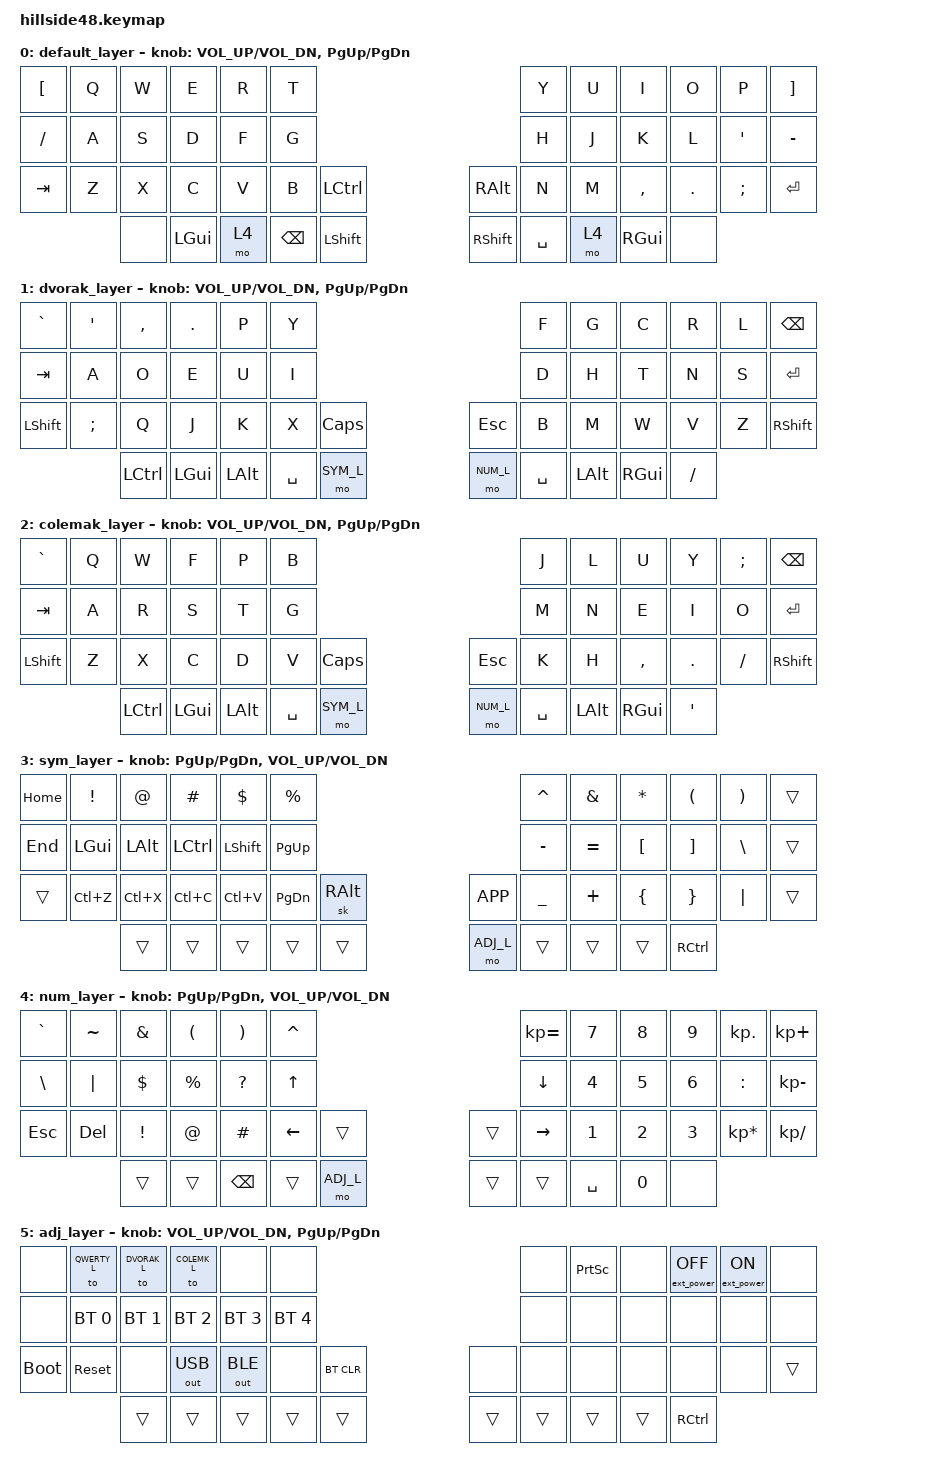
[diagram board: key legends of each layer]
/*
 * Copyright (c) 2022 The ZMK Contributors
 *
 * SPDX-License-Identifier: MIT
 */

#include <behaviors.dtsi>
#include <dt-bindings/zmk/bt.h>
#include <dt-bindings/zmk/ext_power.h>
#include <dt-bindings/zmk/keys.h>
#include <dt-bindings/zmk/outputs.h>

#define QWERTY_L 0
#define DVORAK_L 1
#define COLEMK_L 2
#define SYM_L    3
#define NUM_L    4
#define ADJ_L    5
#define Undo   LC(Z)
#define Cut    LC(X)
#define Copy   LC(C)
#define Paste  LC(V)

&lt {
    flavor = "hold-preferred";
    tapping-term-ms = <160>;
};

/ {
    keymap {
        compatible = "zmk,keymap";

        default_layer {
            /* QWERTY
 * -------------------------------------------------------------------------------------------------------------------------------------
 * | `     |   Q   |   W   |   E   |   R   |   T   |-----------------------------------|   Y   |   U   |   I   |   O   |   P   | BKSPC |
 * | TAB   |   A   |   S   |   D   |   F   |   G   |-----------------------------------|   H   |   J   |   K   |   L   |   ;   | ENTER |
 * | SHIFT |   Z   |   X   |   C   |   V   |   B   | CAPS  |-------------------|  ESC  |   N   |   M   |   ,   |   .   |   /   | SHIFT |
 * ----------------| CTRL  |-------|  GUI  |  ALT  | SPACE |  Sym  |---|  Num  | SPACE |  ALT  |  GUI  |-------|   '   |----------------
 */

            bindings = <
&kp LEFT_BRACKET  &kp Q  &kp W  &kp E  &kp R         &kp T                                                                 &kp Y  &kp U          &kp I      &kp O    &kp P     &kp RIGHT_BRACKET
&kp SLASH         &kp A  &kp S  &kp D  &kp F         &kp G                                                                 &kp H  &kp J          &kp K      &kp L    &kp SQT   &kp MINUS
&kp TAB           &kp Z  &kp X  &kp C  &kp V         &kp B  &kp LCTRL                                       &kp RIGHT_ALT  &kp N  &kp M          &kp COMMA  &kp DOT  &kp SEMI  &kp ENTER
                         &none         &kp LEFT_GUI  &mo 4  &kp BACKSPACE  &kp LEFT_SHIFT  &kp RIGHT_SHIFT  &kp SPACE      &mo 4  &kp RIGHT_GUI             &none
            >;

            sensor-bindings = <&inc_dec_kp C_VOL_UP C_VOL_DN &inc_dec_kp PG_UP PG_DN>;
        };

        dvorak_layer {
            /* DVORAK
 * -------------------------------------------------------------------------------------------------------------------------------------
 * | `     |   '   |   ,   |   .   |   P   |   Y   |-----------------------------------|   F   |   G   |   C   |   R   |   L   | BKSPC |
 * | TAB   |   A   |   O   |   E   |   U   |   I   |-----------------------------------|   D   |   H   |   T   |   N   |   S   | ENTER |
 * | SHIFT |   ;   |   Q   |   J   |   K   |   X   | CAPS  |-------------------|  ESC  |   B   |   M   |   W   |   V   |   Z   | SHIFT |
 * ----------------| CTRL  |-------|  GUI  |  ALT  | SPACE |  Sym  |---|  Num  | SPACE |  ALT  |  GUI  |-------|   /   |----------------
 */

            bindings = <
&kp GRAVE  &kp SQT   &kp COMMA  &kp DOT  &kp P     &kp Y                                                 &kp F     &kp G     &kp C  &kp R      &kp L  &kp BSPC
&kp TAB    &kp A     &kp O      &kp E    &kp U     &kp I                                                 &kp D     &kp H     &kp T  &kp N      &kp S  &kp ENTER
&kp LSHFT  &kp SEMI  &kp Q      &kp J    &kp K     &kp X     &kp CAPS                         &kp ESC    &kp B     &kp M     &kp W  &kp V      &kp Z  &kp RSHFT
                     &kp LCTRL           &kp LGUI  &kp LALT  &kp SPACE  &mo SYM_L  &mo NUM_L  &kp SPACE  &kp LALT  &kp RGUI         &kp SLASH
            >;

            sensor-bindings = <&inc_dec_kp C_VOL_UP C_VOL_DN &inc_dec_kp PG_UP PG_DN>;
        };

        colemak_layer {
            /* COLEMAK-DH
 * -------------------------------------------------------------------------------------------------------------------------------------
 * | `     |   Q   |   W   |   F   |   P   |   B   |-----------------------------------|   J   |   L   |   U   |   Y   |   ;   | BKSPC |
 * | TAB   |   A   |   R   |   S   |   T   |   G   |-----------------------------------|   M   |   N   |   E   |   I   |   O   | ENTER |
 * | SHIFT |   Z   |   X   |   C   |   D   |   V   | CAPS  |-------------------|  ESC  |   K   |   H   |   ,   |   .   |   /   | SHIFT |
 * ----------------| CTRL  |-------|  GUI  |  ALT  | SPACE |  Sym  |---|  Num  | SPACE |  ALT  |  GUI  |-------|   '   |----------------
 */

            bindings = <
&kp GRAVE  &kp Q  &kp W      &kp F  &kp P     &kp B                                                 &kp J     &kp L     &kp U      &kp Y    &kp SEMI   &kp BSPC
&kp TAB    &kp A  &kp R      &kp S  &kp T     &kp G                                                 &kp M     &kp N     &kp E      &kp I    &kp O      &kp ENTER
&kp LSHFT  &kp Z  &kp X      &kp C  &kp D     &kp V     &kp CAPS                         &kp ESC    &kp K     &kp H     &kp COMMA  &kp DOT  &kp SLASH  &kp RSHFT
                  &kp LCTRL         &kp LGUI  &kp LALT  &kp SPACE  &mo SYM_L  &mo NUM_L  &kp SPACE  &kp LALT  &kp RGUI             &kp SQT
            >;

            sensor-bindings = <&inc_dec_kp C_VOL_UP C_VOL_DN &inc_dec_kp PG_UP PG_DN>;
        };

        sym_layer {
            /* SYM
 * -------------------------------------------------------------------------------------------------------------------------------------
 * | HOME  |   !   |   @   |   #   |   $   |   %   |-----------------------------------|   ^   |   &   |   *   |   (   |   )   | BSPC  |
 * | END   |  GUI  |  Alt  | Ctrl  | Shift | Pg Up |-----------------------------------|   -   |   =   |   [   |   ]   |   \   | ENTER |
 * | Shift |  UnDo |  Cut  | Copy  | Paste | Pg Dn |OsAltGr|-------------------| MENU  |   _   |   +   |   {   |   }   |   |   | SHIFT |
 * ----------------|       |-------|       |       |       |       |---| ADJ_L |       |       |       |-------| CTRL  |----------------
 */

            bindings = <
&kp HOME  &kp EXCL  &kp AT    &kp HASH   &kp DOLLAR  &kp PERCENT                                          &kp CARET  &kp AMPS   &kp ASTRK  &kp LPAR   &kp RPAR  &trans
&kp END   &kp LGUI  &kp LALT  &kp LCTRL  &kp LSHFT   &kp PG_UP                                            &kp MINUS  &kp EQUAL  &kp LBKT   &kp RBKT   &kp BSLH  &trans
&trans    &kp Undo  &kp Cut   &kp Copy   &kp Paste   &kp PG_DN    &sk RALT                     &kp K_APP  &kp UNDER  &kp PLUS   &kp LBRC   &kp RBRC   &kp PIPE  &trans
                    &trans               &trans      &trans       &trans    &trans  &mo ADJ_L  &trans     &trans     &trans                &kp RCTRL
            >;

            sensor-bindings = <&inc_dec_kp PG_UP PG_DN &inc_dec_kp C_VOL_UP C_VOL_DN>;
        };

        num_layer {
            /* NUM   
 * -------------------------------------------------------------------------------------------------------------------------------------
 * | F11   |   1   |   2   |   3   |   4   |   5   |-----------------------------------|   6   |   7   |   8   |   9   |       | BSPC  |
 * | F12   |  F1   |  F2   |  F3   |  F4   |  F5   |-----------------------------------|VOL UP | Shift | Ctrl  | Alt   | Gui   | ENTER |
 * | Shift |  F6   |  F7   |  F8   |  F9   |  F10  |  INS  |-------------------| MUTE  |VOL DN | Left  |  Up   | Down  | Right | DELETE|
 * ----------------|       |-------|       |       |       | ADJ_L |---|       |       |       |       |-------| CTRL  |----------------
 */

            bindings = <
&kp GRAVE      &kp TILDE  &kp AMPERSAND  &kp LEFT_PARENTHESIS  &kp RIGHT_PARENTHESIS  &kp CARET                                         &kp KP_EQUAL  &kp N7        &kp N8        &kp N9        &kp KP_DOT       &kp KP_PLUS
&kp BACKSLASH  &kp PIPE   &kp DOLLAR     &kp PERCENT           &kp QUESTION           &kp UP                                            &kp DOWN      &kp NUMBER_4  &kp NUMBER_5  &kp NUMBER_6  &kp COLON        &kp KP_MINUS
&kp ESCAPE     &kp DEL    &kp EXCL       &kp AT                &kp HASH               &kp LEFT       &trans                     &trans  &kp RIGHT     &kp NUMBER_1  &kp NUMBER_2  &kp NUMBER_3  &kp KP_MULTIPLY  &kp KP_DIVIDE
                          &trans                               &trans                 &kp BACKSPACE  &trans  &mo ADJ_L  &trans  &trans  &kp SPACE     &kp NUMBER_0                &none
            >;

            sensor-bindings = <&inc_dec_kp PG_UP PG_DN &inc_dec_kp C_VOL_UP C_VOL_DN>;
        };

        adj_layer {
            /* ADJUST
 * -------------------------------------------------------------------------------------------------------------------------------------
 * |       | QWERTY| DVORAK| COLEMK|       |       |-----------------------------------|       |Prt Scr|       | EP_OFF| EP_ON |       |
 * |       | BT 0  | BT 1  | BT 2  | BT 3  | BT 4  |-----------------------------------|       |       |       |       |       |       |
 * | BOOTL | RESET |       |OUT_USB|OUT_BLE|       |BT CLR |-------------------|       |       |       |       |       |       | SHIFT |
 * ----------------|       |-------|       |       |       |       |---|       |       |       |       |-------| CTRL  |----------------
 */

            bindings = <
&none        &to QWERTY_L  &to DVORAK_L  &to COLEMK_L  &none         &none                                             &none   &kp PRINTSCREEN  &none  &ext_power EP_OFF  &ext_power EP_ON  &none
&none        &bt BT_SEL 0  &bt BT_SEL 1  &bt BT_SEL 2  &bt BT_SEL 3  &bt BT_SEL 4                                      &none   &none            &none  &none              &none             &none
&bootloader  &sys_reset    &none         &out OUT_USB  &out OUT_BLE  &none         &bt BT_CLR                  &none   &none   &none            &none  &none              &none             &trans
                           &trans                      &trans        &trans        &trans      &trans  &trans  &trans  &trans  &trans                  &kp RCTRL
            >;

            sensor-bindings = <&inc_dec_kp C_VOL_UP C_VOL_DN &inc_dec_kp PG_UP PG_DN>;
        };
    };
};
